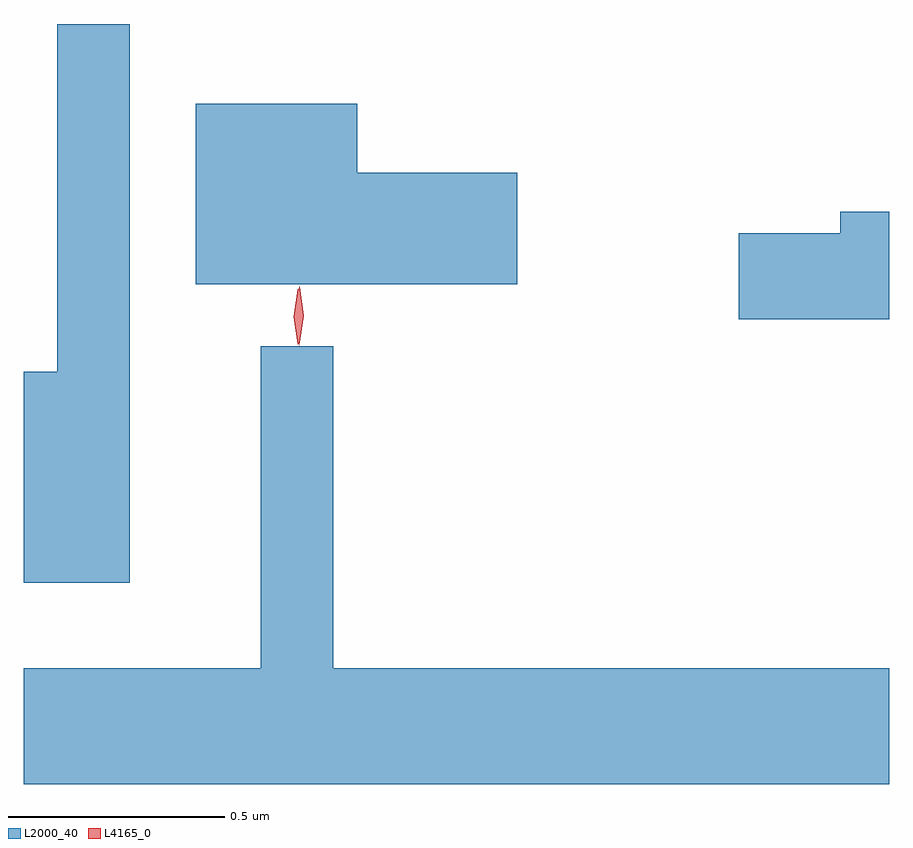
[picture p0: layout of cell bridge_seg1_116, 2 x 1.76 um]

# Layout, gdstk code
import gdstk
lib = gdstk.Library(unit=1e-6, precision=1e-09)
def P(c, l, *ps):  # polygons
    for p in ps: c.add(gdstk.Polygon(p, *l))
L2000_40 = (2000, 40)
L4165_0 = (4165, 0)

bridge_seg1_116 = lib.new_cell('bridge_seg1_116')
P(bridge_seg1_116, L2000_40, [(1429.679,921.313),(1429.511,921.313),(1429.511,920.509),(1429.434,920.509),(1429.434,920.021),(1429.679,920.021)],
  [(1430.574,920.969),(1430.204,920.969),(1430.204,921.129),(1429.831,921.129),(1429.831,920.711),(1430.574,920.711)],
  [(1431.434,920.879),(1431.321,920.879),(1431.321,920.829),(1431.086,920.829),(1431.086,920.631),(1431.434,920.631)],
  [(1431.434,919.824),(1430.149,919.824),(1430.149,920.568),(1429.981,920.568),(1429.981,919.824),(1429.434,919.824),(1429.434,919.556),(1431.434,919.556)])
P(bridge_seg1_116, L4165_0, [(1430.07,920.57),(1430.07,920.57),(1430.061,920.638),(1430.071,920.705),(1430.072,920.706),(1430.072,920.705),(1430.081,920.638),(1430.071,920.57)],
  [(1430.067,920.573),(1430.058,920.636),(1430.067,920.7),(1430.068,920.7),(1430.068,920.7),(1430.078,920.636),(1430.068,920.573),(1430.068,920.573)])

lib.write_gds('bridge_seg1_116.gds')
